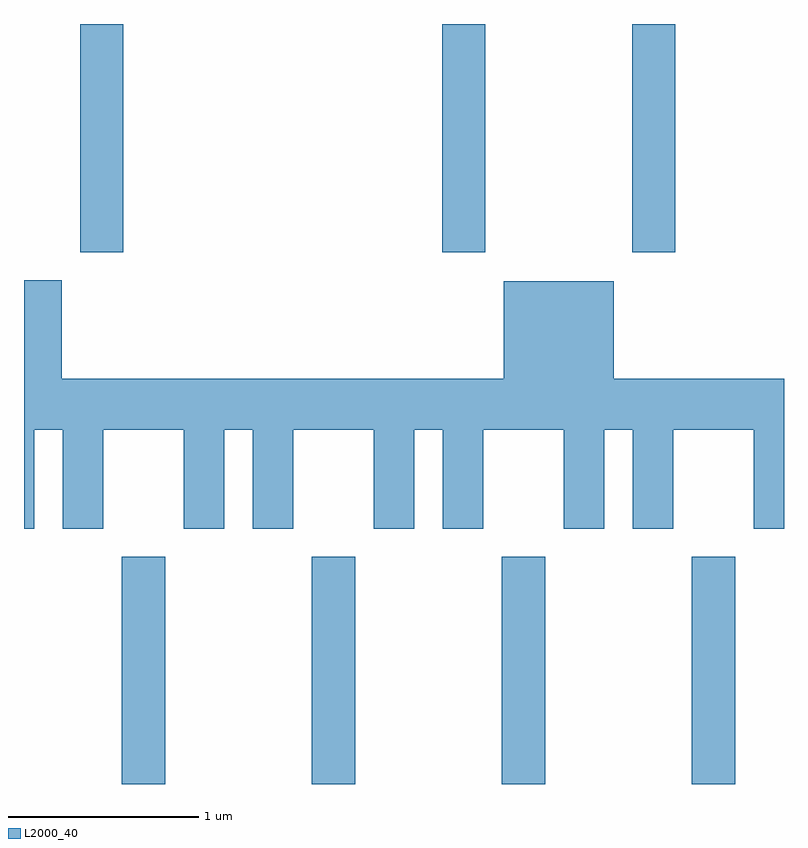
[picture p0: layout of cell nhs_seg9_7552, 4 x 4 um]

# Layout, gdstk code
import gdstk
lib = gdstk.Library(unit=1e-6, precision=1e-09)
def R(c, l, rs):  # rectangles x0, y0, x1, y1
    for r in rs: c.add(gdstk.rectangle(r[:2], r[2:], *l))
def A(c, l, x, y, w, h, nx, ny, dx, dy):  # array of equal rectangles
    R(c, l, [(x+i*dx, y+j*dy, x+i*dx+w, y+j*dy+h) for i in range(nx) for j in range(ny)])
def P(c, l, *ps):  # polygons
    for p in ps: c.add(gdstk.Polygon(p, *l))
L2000_40 = (2000, 40)

nhs_seg9_7552 = lib.new_cell('nhs_seg9_7552')
A(nhs_seg9_7552, L2000_40, 410.126, 1954.432, 0.228, 1.197, 4, 1, 1, 0)
R(nhs_seg9_7552, L2000_40, [(409.906,1957.231,410.134,1958.432), (411.811,1957.231,412.039,1958.432), (412.811,1957.231,413.039,1958.432)])
P(nhs_seg9_7552, L2000_40, [(409.664,1956.296),(409.816,1956.296),(409.816,1955.776),(410.029,1955.776),(410.029,1956.296),(410.451,1956.296),(410.451,1955.776),(410.664,1955.776),(410.664,1956.296),(410.816,1956.296),(410.816,1955.776),(411.029,1955.776),(411.029,1956.296),(411.451,1956.296),(411.451,1955.776),(411.664,1955.776),(411.664,1956.296),(411.816,1956.296),(411.816,1955.776),(412.029,1955.776),(412.029,1956.296),(412.451,1956.296),(412.451,1955.776),(412.664,1955.776),(412.664,1956.296),(412.816,1956.296),(412.816,1955.776),(413.029,1955.776),(413.029,1956.296),(413.451,1956.296),(413.451,1955.776),(413.611,1955.776),(413.611,1956.564),(412.714,1956.564),(412.714,1957.079),(412.136,1957.079),(412.136,1956.564),(409.809,1956.564),(409.809,1957.084),(409.611,1957.084),(409.611,1955.776),(409.664,1955.776)])

lib.write_gds('nhs_seg9_7552.gds')
